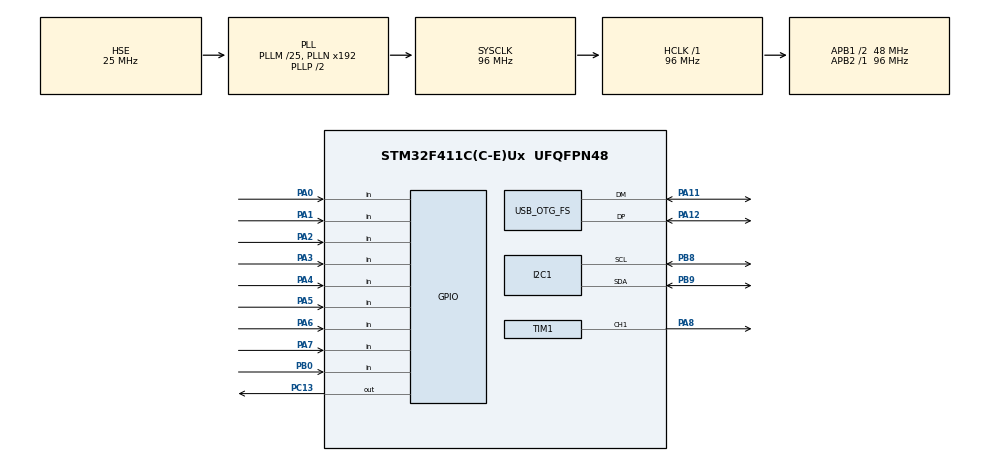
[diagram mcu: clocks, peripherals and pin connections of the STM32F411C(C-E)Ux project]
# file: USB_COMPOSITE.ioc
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AL94.I-CUBE-USBD-COMPOSITE.1.0.3.CompositeCcUSBJjCOMPOSITEJjCDCIiACM=true
AL94.I-CUBE-USBD-COMPOSITE.1.0.3.CompositeCcUSBJjCOMPOSITEJjCOMPOSITE=true
AL94.I-CUBE-USBD-COMPOSITE.1.0.3.CompositeCcUSBJjCOMPOSITEJjCore=true
AL94.I-CUBE-USBD-COMPOSITE.1.0.3.CompositeCcUSBJjCOMPOSITEJjHIDIiCUSTOM=true
AL94.I-CUBE-USBD-COMPOSITE.1.0.3._USBD_USE_CDC_ACM=true
AL94.I-CUBE-USBD-COMPOSITE.1.0.3._USBD_USE_HID_CUSTOM=true
AL94.I-CUBE-USBD-COMPOSITE.1.0.3._USBD_USE_HS=false
Dma.Request0=TIM1_CH1
Dma.TIM1_CH1.0.Direction=DMA_MEMORY_TO_PERIPH
Dma.TIM1_CH1.0.FIFOMode=DMA_FIFOMODE_DISABLE
Dma.TIM1_CH1.0.Instance=DMA2_Stream1
Dma.TIM1_CH1.0.MemDataAlignment=DMA_MDATAALIGN_HALFWORD
Dma.TIM1_CH1.0.MemInc=DMA_MINC_ENABLE
Dma.TIM1_CH1.0.Mode=DMA_NORMAL
Dma.TIM1_CH1.0.PeriphDataAlignment=DMA_PDATAALIGN_HALFWORD
Dma.TIM1_CH1.0.PeriphInc=DMA_PINC_DISABLE
Dma.TIM1_CH1.0.Priority=DMA_PRIORITY_LOW
I2C1.I2C_Mode=I2C_Fast
Mcu.Family=STM32F4
Mcu.Name=STM32F411C(C-E)Ux
Mcu.Package=UFQFPN48
NVIC.DMA2_Stream1_IRQn=true\:1\:0\:true\:false\:true\:false\:true\:true
NVIC.OTG_FS_IRQn=true\:0\:0\:false\:false\:true\:true\:true\:true
NVIC.PriorityGroup=NVIC_PRIORITYGROUP_4
NVIC.TIM3_IRQn=true\:4\:0\:true\:false\:true\:true\:true\:true
PA0-WKUP.Signal=GPIO_Input
PA1.GPIO_PuPd=GPIO_PULLUP
PA1.Signal=GPIO_Input
PA11.Mode=Device_Only
PA11.Signal=USB_OTG_FS_DM
PA12.Mode=Device_Only
PA12.Signal=USB_OTG_FS_DP
PA13.Mode=Serial_Wire
PA13.Signal=SYS_JTMS-SWDIO
PA14.Mode=Serial_Wire
PA14.Signal=SYS_JTCK-SWCLK
PA2.GPIO_PuPd=GPIO_PULLUP
PA2.Signal=GPIO_Input
PA3.GPIO_PuPd=GPIO_PULLUP
PA3.Signal=GPIO_Input
PA4.GPIO_PuPd=GPIO_PULLUP
PA4.Signal=GPIO_Input
PA5.GPIO_PuPd=GPIO_PULLUP
PA5.Signal=GPIO_Input
PA6.GPIO_PuPd=GPIO_PULLUP
PA6.Signal=GPIO_Input
PA7.GPIO_PuPd=GPIO_PULLUP
PA7.Signal=GPIO_Input
PA8.Signal=S_TIM1_CH1
PB0.GPIO_PuPd=GPIO_PULLUP
PB0.Signal=GPIO_Input
PB8.Mode=I2C
PB8.Signal=I2C1_SCL
PB9.Mode=I2C
PB9.Signal=I2C1_SDA
PC13-ANTI_TAMP.Signal=GPIO_Output
PH0\ -\ OSC_IN.Mode=HSE-External-Oscillator
PH0\ -\ OSC_IN.Signal=RCC_OSC_IN
PH1\ -\ OSC_OUT.Mode=HSE-External-Oscillator
PH1\ -\ OSC_OUT.Signal=RCC_OSC_OUT
ProjectManager.HeapSize=0x200
ProjectManager.StackSize=0x400
ProjectManager.TargetToolchain=STM32CubeIDE
RCC.48MHZClocksFreq_Value=48000000
RCC.AHBFreq_Value=96000000
RCC.APB1CLKDivider=RCC_HCLK_DIV2
RCC.APB1Freq_Value=48000000
RCC.APB1TimFreq_Value=96000000
RCC.APB2Freq_Value=96000000
RCC.APB2TimFreq_Value=96000000
RCC.CortexFreq_Value=96000000
RCC.HCLKFreq_Value=96000000
RCC.HSE_VALUE=25000000
RCC.HSI_VALUE=16000000
RCC.LSE_VALUE=32768
RCC.PLLM=25
RCC.SYSCLKFreq_VALUE=96000000
RCC.SYSCLKSource=RCC_SYSCLKSOURCE_PLLCLK
RCC.VCOOutputFreq_Value=192000000
SH.S_TIM1_CH1.0=TIM1_CH1,PWM Generation1 CH1
TIM1.Channel-PWM\ Generation1\ CH1=TIM_CHANNEL_1
TIM1.OCPolarity_1=TIM_OCPOLARITY_HIGH
TIM1.Period=119
TIM3.Period=9599
TIM3.Prescaler=999
USB_OTG_FS.VirtualMode=Device_Only
VP_AL94.I-CUBE-USBD-COMPOSITE_VS_USBJjComposite_1.0.0_1.0.3.Mode=USBJjComposite
VP_TIM1_VS_ClockSourceINT.Mode=Internal
VP_TIM3_VS_ClockSourceINT.Mode=Internal
board=custom

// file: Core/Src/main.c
/* USER CODE BEGIN Header */
/**
  ******************************************************************************
  * @file           : main.c
  * @brief          : Main program body
  ******************************************************************************
  * @attention
  *
  * Copyright (c) 2023 STMicroelectronics.
  * All rights reserved.
  *
  * This software is licensed under terms that can be found in the LICENSE file
  * in the root directory of this software component.
  * If no LICENSE file comes with this software, it is provided AS-IS.
  *
  ******************************************************************************
  */
/* USER CODE END Header */
#include "main.h"
#include "dma.h"
#include "i2c.h"
#include "tim.h"
#include "usb_otg.h"
#include "gpio.h"

/* USER CODE BEGIN Includes */
#include "usbd_hid_custom.h"
#include "ssd1306.h"
#include <stdbool.h>
/* USER CODE END Includes */

/* USER CODE BEGIN PD */
#define NUM_LEDS 4
/* USER CODE END PD */

/* USER CODE BEGIN PV */
  extern USBD_HandleTypeDef hUsbDevice;
  static uint16_t ws2812b_frame[24 * (WS2812B_NUM_LEDS+2)] = {0};
  extern volatile uint8_t rxflag;
  extern char rxdata[16];
  volatile uint8_t blink_flag = 0;
  uint8_t warning_on = 0;

  uint16_t int_rpms = 0;
  uint16_t int_max_rpms = 500;
  char speed[3] = {0x30, 0x30, 0x30};
  char gear[1] = {0x30};
  char rpms[4];
  char max_rpms[4];

/* USER CODE END PV */

void SystemClock_Config(void);
/* USER CODE BEGIN PFP */
uint8_t USBD_CUSTOM_HID_SendReport(USBD_HandleTypeDef *pdev, uint8_t *report, uint16_t len);
/* USER CODE END PFP */

int main(void)
{

  /* MCU Configuration--------------------------------------------------------*/

  /* Reset of all peripherals, Initializes the Flash interface and the Systick. */
  HAL_Init();

  /* Configure the system clock */
  SystemClock_Config();

  /* Initialize all configured peripherals */
  MX_GPIO_Init();
  MX_DMA_Init();
  MX_USB_OTG_FS_PCD_Init();
  MX_I2C1_Init();
  MX_TIM1_Init();
  MX_TIM3_Init();
  /* USER CODE BEGIN 2 */
  MX_USB_DEVICE_Init();
  uint8_t report[5] = {0x01, 0x00, 0x00, 0x00, 0x00};
  keyboard_t Keyboard;

  KeyboardInit(&Keyboard);
  uint32_t temp = 0;
  color_hsv_t blue_color = {200,100,15};
  color_hsv_t red_color = {0,100,15};
  color_hsv_t black_color = {0,100,0};

  for (uint8_t ybright = 0; ybright<15; ybright++)
  {
	  HAL_Delay(40);
	  blue_color.value = ybright;
	  WS2812B_SetFullColor(ws2812b_frame, WS2812B_HSVtoRGB(blue_color));
	  WS2812B_UpdateLeds(ws2812b_frame);

  }

  for (uint8_t ybright = 15; ybright> 0 ; ybright--)
  {
	  HAL_Delay(40);
	  blue_color.value = ybright;
	  WS2812B_SetFullColor(ws2812b_frame, WS2812B_HSVtoRGB(blue_color));
	  WS2812B_UpdateLeds(ws2812b_frame);
  }

  blue_color.value = 15;
  WS2812B_SetFullColor(ws2812b_frame, WS2812B_HSVtoRGB(black_color));
  WS2812B_UpdateLeds(ws2812b_frame);

  ssd1306_Init();
  HAL_Delay(100);
  ssd1306_SetDisplayOn(1);

  HAL_TIM_Base_Start_IT(&htim3);

  // rounds

   ssd1306_DrawCircle(63,31,56,White);
   ssd1306_DrawCircle(63,31,60,White);
   ssd1306_UpdateScreen();

   HAL_Delay(50);

   // -   - speed
   ssd1306_DrawRectangle(14,13,24,17,White);
   ssd1306_DrawRectangle(102,13,112,17,White);
   ssd1306_UpdateScreen();

   HAL_Delay(50);

   // ( ) speed
   ssd1306_Line(38,2,30,15,White);
   ssd1306_Line(88,2,96,15,White);
   ssd1306_Line(30,15,38,28,White);
   ssd1306_Line(96,15,88,28,White);

   ssd1306_Line(34,2,26,15,White);
   ssd1306_Line(92,2,100,15,White);
   ssd1306_Line(26,15,34,28,White);
   ssd1306_Line(100,15,92,28,White);

   ssd1306_Line(34,2,38,2,White);
   ssd1306_Line(34,28,38,28,White);
   ssd1306_Line(88,2,92,2,White);
   ssd1306_Line(88,28,92,28,White);
   ssd1306_UpdateScreen();
   //------------------

   HAL_Delay(50);

   // (  ) gear---------
   ssd1306_Line(47,32,51,32,White);
   ssd1306_Line(47,58,51,58,White);
   ssd1306_Line(74,32,78,32,White);
   ssd1306_Line(74,58,78,58,White);

   ssd1306_Line(47,32,41,40,White);
   ssd1306_Line(41,40,41,50,White);
   ssd1306_Line(41,50,47,58,White);

   ssd1306_Line(51,32,45,40,White);
   ssd1306_Line(45,40,45,50,White);
   ssd1306_Line(45,50,51,58,White);

   ssd1306_Line(74,32,80,40,White);
   ssd1306_Line(80,40,80,50,White);
   ssd1306_Line(80,50,74,58,White);

   ssd1306_Line(78,32,84,40,White);
   ssd1306_Line(84,40,84,50,White);
   ssd1306_Line(84,50,78,58,White);

   ssd1306_UpdateScreen();
   //------------------

   HAL_Delay(50);

  /* USER CODE END 2 */

  /* Infinite loop */
  /* USER CODE BEGIN WHILE */
   while (1)
   {
		  // keyboard and HID --------------------------------------------
		  KeyboardScan(&Keyboard);
		  for(uint8_t counter = 0; counter<16; counter++)
		  {
			  if (Keyboard.button_status[counter] == PRESS)
				  temp += (1<<counter);
		  }
		  report[2] = (uint8_t) temp;
		  report[1] = (uint8_t)(temp>>8);
		  USBD_CUSTOM_HID_SendReport(&hUsbDevice, report, 5);
		  temp = 0;
		  //--------------------------------------------------------------
	  // leds and virtual-COM ----------------------------------------

	  if (rxflag == 1)
	  {
		  uint8_t byte_counter = 0;
		  uint8_t counter = 0;

		  for (counter = 0; counter<3; counter++)
			  speed[counter] = 0x30;

		  gear[0] = 0x30;

		  for (counter = 0; counter<4; counter++)
		  {
			  rpms[counter] = 0x30;
			  max_rpms[counter] = 0x30;
		  }

		  while(rxdata[byte_counter] != 0x3b)
		  {
			  switch (byte_counter)
			  {
			  case 0:
				  speed[2]=(char)rxdata[0];
				  break;
			  case 1:
				  speed[2]=(char)rxdata[1];
				  speed[1]=(char)rxdata[0];
				  break;
			  case 2:
				  speed[2]=(char)rxdata[2];
				  speed[1]=(char)rxdata[1];
				  speed[0]=(char)rxdata[0];
				  break;
			  default:
				  break;
			  }
			  byte_counter++;

		  }

		  counter = 0;
		  byte_counter++;
		  while(rxdata[byte_counter] != 0x3b)
		  {
			  gear[counter]=(char)rxdata[byte_counter];
			  byte_counter++;
		  }

		  counter = 0;
		  byte_counter++;
		  int_rpms = 0;
		  while(rxdata[byte_counter] != 0x3b)
		  {
			  rpms[counter]=(char)rxdata[byte_counter];
			  int_rpms *= 10;
			  int_rpms += (uint16_t)(rpms[counter]-0x30);

			  byte_counter++;
			  counter++;
		  }

		  counter = 0;
		  byte_counter++;
		  int_max_rpms = 0;
		  while(rxdata[byte_counter] != 0x3b)
		  {
			  max_rpms[counter]=(char)rxdata[byte_counter];
			  int_max_rpms *= 10;
			  int_max_rpms += (uint16_t)(max_rpms[counter]-0x30);

			  byte_counter++;
			  counter++;
		  }
		  for (uint8_t cnt = 0; cnt<16; cnt++)
			  rxdata[cnt] = 0;
		  rxflag = 0;
	  }

	ssd1306_SetCursor(40,5);
	ssd1306_WriteString("   ", Font_16x24, White);
	ssd1306_SetCursor(40,5);
	ssd1306_WriteString(speed, Font_16x24, White);

	ssd1306_SetCursor(56,35);
	ssd1306_WriteString(" ", Font_16x24, White);
	ssd1306_SetCursor(56,35);
	ssd1306_WriteString(gear, Font_16x24, White);

	ssd1306_UpdateScreen();

	if (int_rpms+300 < int_max_rpms)
	{
		WS2812B_SetProgressBar(ws2812b_frame, blue_color, int_max_rpms, int_rpms);
		WS2812B_UpdateLeds(ws2812b_frame);
	}
	else
	{
		if (blink_flag == 1)
		{
			if (warning_on == 0)
			{
				WS2812B_SetFullColor(ws2812b_frame, WS2812B_HSVtoRGB(red_color));
				warning_on = 1;
			}
			else
			{
				WS2812B_SetFullColor(ws2812b_frame, WS2812B_HSVtoRGB(black_color));
				warning_on = 0;
			}
			WS2812B_UpdateLeds(ws2812b_frame);
			blink_flag = 0;
		}
	}

    /* USER CODE END WHILE */

  }
}

void SystemClock_Config(void)
{
  RCC_OscInitTypeDef RCC_OscInitStruct = {0};
  RCC_ClkInitTypeDef RCC_ClkInitStruct = {0};

  /** Configure the main internal regulator output voltage
  */
  __HAL_RCC_PWR_CLK_ENABLE();
  __HAL_PWR_VOLTAGESCALING_CONFIG(PWR_REGULATOR_VOLTAGE_SCALE1);

  /** Initializes the RCC Oscillators according to the specified parameters
  * in the RCC_OscInitTypeDef structure.
  */
  RCC_OscInitStruct.OscillatorType = RCC_OSCILLATORTYPE_HSE;
  RCC_OscInitStruct.HSEState = RCC_HSE_ON;
  RCC_OscInitStruct.PLL.PLLState = RCC_PLL_ON;
  RCC_OscInitStruct.PLL.PLLSource = RCC_PLLSOURCE_HSE;
  RCC_OscInitStruct.PLL.PLLM = 25;
  RCC_OscInitStruct.PLL.PLLN = 192;
  RCC_OscInitStruct.PLL.PLLP = RCC_PLLP_DIV2;
  RCC_OscInitStruct.PLL.PLLQ = 4;
  if (HAL_RCC_OscConfig(&RCC_OscInitStruct) != HAL_OK)
  {
    Error_Handler();
  }

  /** Initializes the CPU, AHB and APB buses clocks
  */
  RCC_ClkInitStruct.ClockType = RCC_CLOCKTYPE_HCLK|RCC_CLOCKTYPE_SYSCLK
                              |RCC_CLOCKTYPE_PCLK1|RCC_CLOCKTYPE_PCLK2;
  RCC_ClkInitStruct.SYSCLKSource = RCC_SYSCLKSOURCE_PLLCLK;
  RCC_ClkInitStruct.AHBCLKDivider = RCC_SYSCLK_DIV1;
  RCC_ClkInitStruct.APB1CLKDivider = RCC_HCLK_DIV2;
  RCC_ClkInitStruct.APB2CLKDivider = RCC_HCLK_DIV1;

  if (HAL_RCC_ClockConfig(&RCC_ClkInitStruct, FLASH_LATENCY_3) != HAL_OK)
  {
    Error_Handler();
  }
}

void Error_Handler(void)
{
  __disable_irq();
  while (1)
  {
  }
}
